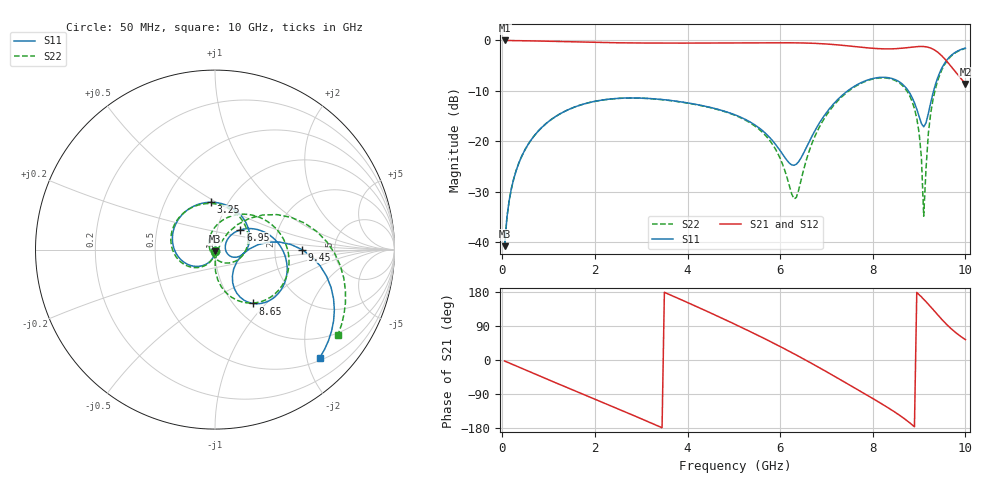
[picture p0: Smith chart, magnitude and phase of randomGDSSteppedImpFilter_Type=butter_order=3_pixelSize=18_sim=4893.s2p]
! freq	dB(S11)	phase(S11)	dB(S12)	phase(S12)
!  dB(S21)	phase(S21)	dB(S22)	phase(S22)
!S-par simulation data
#  GHz  S  DB  R 50
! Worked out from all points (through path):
!   200 points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, 50 MHz to 10 GHz, reference 50 ohm
!   highest |S21| = -0.01 dB at 50 MHz (marker M1); lowest = -8.6 dB at 10 GHz (marker M2)
!   group delay of S21, straight-line fit = 174 ps
!   lowest |S11| = -40.7 dB at 50 MHz (marker M3), VSWR 1.02, Z = 50 - j0.919 ohm
!   |S11| at or under -10 dB: start of sweep to 7.455 GHz; 8.768 GHz to 9.314 GHz (546.4 MHz wide, 6.04 % of centre)
!   |S22| runs from -40.7 to -1.6 dB; largest |S21 - S12| = 0
!   S11 on the Smith chart (normalised r, x): 50 MHz: 1.00, -0.02; 3.25 GHz: 0.84, +0.47; 6.95 GHz: 1.29, +0.29; 8.65 GHz: 1.21, -0.84; 9.45 GHz: 2.89, -0.00; 10 GHz: 0.55, -2.25
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0.05  -40.73 -87.4  -0.01 -2.7  -0.01 -2.7  -40.73 -87.1
0.2  -29.19 -99.8  -0.03 -10.6  -0.03 -10.6  -29.18 -98.9
0.5  -21.49 -117.5  -0.07 -26.2  -0.07 -26.2  -21.48 -115.4
1.75  -12.62 174.6  -0.35 -90.7  -0.35 -90.7  -12.62 -177.8
2.45  -11.51 137.3  -0.47 -126.5  -0.47 -126.5  -11.52 147.9
3.25  -11.55 94.5  -0.53 -168.1  -0.53 -168.1  -11.57 107.7
3.4  -11.66 86.5  -0.53 -176.1  -0.53 -176.1  -11.69 99.9
4.15  -12.61 47.1  -0.53 143.5  -0.53 143.5  -12.65 59.3
5.05  -14.82 3.1  -0.50 92.7  -0.50 92.7  -14.92 5.1
5.8  -19.48 -22.9  -0.47 48.0  -0.47 48.0  -20.12 -49.4
6.3  -24.72 8.0  -0.48 16.3  -0.48 16.3  -31.38 -150.3
6.7  -18.74 41.9  -0.57 -10.3  -0.57 -10.3  -20.08 100.4
6.95  -14.93 37.8  -0.68 -27.4  -0.68 -27.4  -15.50 76.0
7.65  -8.83 3.7  -1.26 -76.7  -1.26 -76.7  -8.96 20.0
8.35  -7.40 -37.5  -1.68 -127.5  -1.68 -127.5  -7.54 -32.8
8.65  -8.74 -55.1  -1.53 -152.0  -1.53 -152.0  -9.02 -57.4
9  -15.06 -56.7  -1.20 172.6  -1.20 172.6  -18.28 -88.6
9.05  -16.46 -46.3  -1.19 166.6  -1.19 166.6  -23.12 -89.5
9.1  -17.11 -29.6  -1.21 160.4  -1.21 160.4  -34.80 -51.6
9.2  -14.46 0.7  -1.37 147.2  -1.37 147.2  -18.45 52.3
9.45  -6.28 -0.0  -2.71 112.6  -2.71 112.6  -6.71 22.8
10  -1.53 -45.9  -8.62 53.8  -8.62 53.8  -1.58 -34.7
